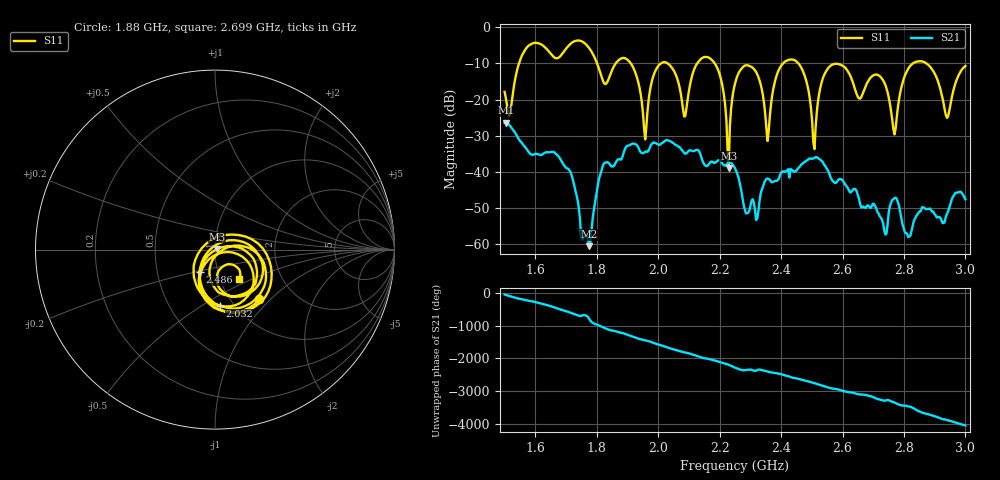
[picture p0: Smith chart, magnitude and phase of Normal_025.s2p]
# HZ S RI R 50
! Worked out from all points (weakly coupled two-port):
!   404 points, 1.5 GHz to 3 GHz, reference 50 ohm
!   highest |S21| = -26.40 dB at 1.504 GHz (marker M1); lowest = -60.5 dB at 1.775 GHz (marker M2)
!   lowest |S11| = -38.9 dB at 2.23 GHz (marker M3), VSWR 1.02, Z = 51.1 + j0.306 ohm
!   |S11| at or under -10 dB: 2.184 GHz to 2.407 GHz (222.5 MHz wide, 9.7 % of centre); 2.457 GHz to 2.829 GHz (372.5 MHz wide, 14.1 % of centre); 2.873 GHz to end of sweep (the widest 3 of 7)
!   S12 and S22 are empty: the file has one direction only
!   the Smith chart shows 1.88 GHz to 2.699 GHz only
!   S11 on the Smith chart (normalised r, x): 1.88 GHz: 1.34, -0.86; 2.032 GHz: 0.87, -0.60; 2.486 GHz: 0.82, -0.21; 2.699 GHz: 1.23, -0.43
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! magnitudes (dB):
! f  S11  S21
! 1.5 GHz  -17.9  -26.4
! 1.504 GHz  -19.4  -26.4
! 1.708 GHz  -5.1  -39.2
! 1.753 GHz  -4.0  -58.7
! 1.775 GHz  -5.8  -60.5
! 1.88 GHz  -8.6  -36.6
! 1.958 GHz  -31.0  -34.4
! 2.002 GHz  -10.5  -32.5
! 2.032 GHz  -10.1  -31.3
! 2.084 GHz  -24.7  -34.8
! 2.177 GHz  -9.3  -37.2
! 2.23 GHz  -38.9  -37.3
! 2.252 GHz  -15.0  -39.4
! 2.319 GHz  -12.4  -53.3
! 2.356 GHz  -31.5  -41.8
! 2.408 GHz  -9.8  -39.9
! 2.486 GHz  -16.4  -36.7
! 2.501 GHz  -26.2  -36.4
! 2.561 GHz  -10.7  -41.5
! 2.699 GHz  -13.4  -48.8
! 2.751 GHz  -19.5  -51.1
! 3 GHz  -10.7  -47.6
